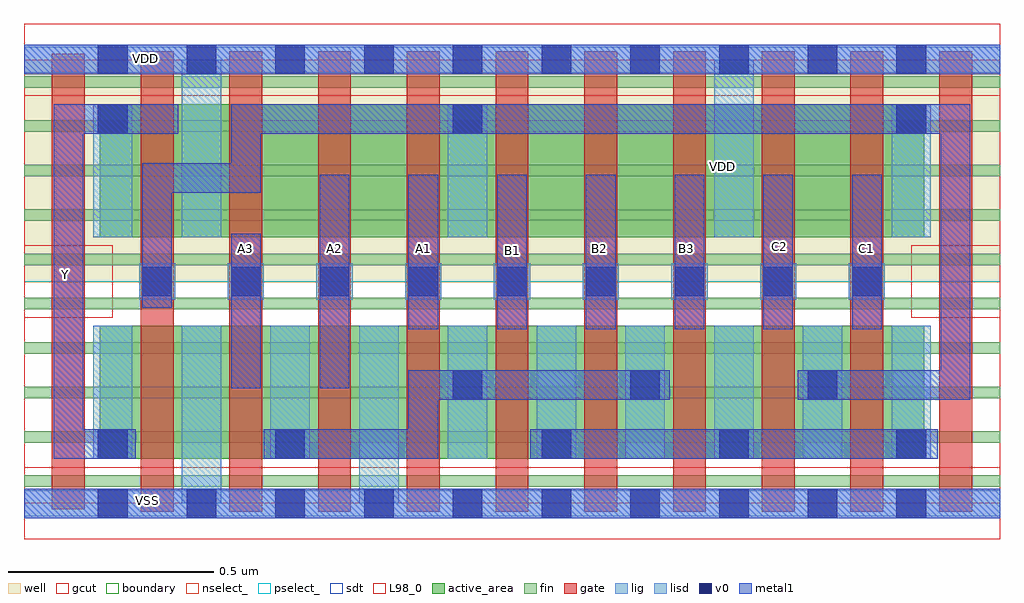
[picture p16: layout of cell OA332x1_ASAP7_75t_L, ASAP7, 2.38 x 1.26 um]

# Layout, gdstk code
import gdstk
lib = gdstk.Library(unit=1e-6, precision=2.5e-10)
def R(c, l, rs):  # rectangles x0, y0, x1, y1
    for r in rs: c.add(gdstk.rectangle(r[:2], r[2:], *l))
def A(c, l, x, y, w, h, nx, ny, dx, dy):  # array of equal rectangles
    R(c, l, [(x+i*dx, y+j*dy, x+i*dx+w, y+j*dy+h) for i in range(nx) for j in range(ny)])
def P(c, l, *ps):  # polygons
    for p in ps: c.add(gdstk.Polygon(p, *l))
well = (1, 0)
fin = (2, 0)
gate = (7, 0)
gcut = (10, 0)
active_area = (11, 0)
nselect_ = (12, 0)
pselect_ = (13, 0)
lig = (16, 0)
lisd = (17, 0)
v0 = (18, 0)
metal1 = (19, 0)
sdt = (88, 0)
L98_0 = (98, 0)
boundary = (100, 0)

oa332x1_asap7_75t_l = lib.new_cell('OA332x1_ASAP7_75t_L')
R(oa332x1_asap7_75t_l, well, [(0,0.54,2.376,1.08)])
A(oa332x1_asap7_75t_l, fin, 0, 0.04, 2.376, 0.028, 1, 10, 0, 0.108)
A(oa332x1_asap7_75t_l, gate, 0.284, -0.02, 0.08, 1.12, 10, 1, 0.216, 0)
R(oa332x1_asap7_75t_l, gate, [(0.068,-0.014,0.148,1.094), (0.284,-0.014,0.364,1.094)])
R(oa332x1_asap7_75t_l, gcut, [(0,-0.088,2.376,0.088), (0,0.452,0.216,0.628), (2.16,0.452,2.376,0.628), (0,0.992,2.376,1.168)])
R(oa332x1_asap7_75t_l, active_area, [(0.184,0.108,2.192,0.432), (0.184,0.648,2.192,0.972)])
R(oa332x1_asap7_75t_l, nselect_, [(0,0,2.376,0.54)])
R(oa332x1_asap7_75t_l, pselect_, [(0,0.54,2.376,1.08)])
A(oa332x1_asap7_75t_l, lig, 0.28, 0.496, 0.088, 0.088, 9, 1, 0.216, 0)
R(oa332x1_asap7_75t_l, lig, [(0,-0.032,2.376,0.032), (0,1.048,2.376,1.112)])
A(oa332x1_asap7_75t_l, lisd, 0.168, 0.108, 0.096, 0.324, 3, 1, 0.432, 0)
A(oa332x1_asap7_75t_l, lisd, 1.248, 0.108, 0.096, 0.324, 5, 1, 0.216, 0)
R(oa332x1_asap7_75t_l, lisd, [(0.384,0,0.48,0.432), (0.816,0,0.912,0.432), (0.168,0.648,0.264,0.972), (0.384,0.648,0.48,1.08), (1.032,0.648,1.128,0.972), (1.68,0.648,1.776,1.08), (2.112,0.648,2.208,0.972)])
A(oa332x1_asap7_75t_l, v0, 0.18, -0.036, 0.072, 0.072, 10, 2, 0.216, 1.08)
A(oa332x1_asap7_75t_l, v0, 1.26, 0.108, 0.072, 0.072, 3, 1, 0.432, 0)
A(oa332x1_asap7_75t_l, v0, 1.044, 0.252, 0.072, 0.072, 3, 1, 0.432, 0)
A(oa332x1_asap7_75t_l, v0, 0.288, 0.504, 0.072, 0.072, 9, 1, 0.216, 0)
R(oa332x1_asap7_75t_l, v0, [(0.18,0.108,0.252,0.18), (0.612,0.108,0.684,0.18), (0.18,0.9,0.252,0.972), (1.044,0.9,1.116,0.972), (2.124,0.9,2.196,0.972)])
A(oa332x1_asap7_75t_l, metal1, 0.936, 0.424, 0.072, 0.376, 6, 1, 0.216, 0)
R(oa332x1_asap7_75t_l, metal1, [(0,-0.036,2.376,0.036), (1.232,0.108,2.224,0.18), (0.504,0.28,0.576,0.656), (0.72,0.28,0.792,0.8), (0,1.044,2.376,1.116)])
P(oa332x1_asap7_75t_l, metal1, [(0.376,0.972),(0.072,0.972),(0.072,0.108),(0.272,0.108),(0.272,0.18),(0.144,0.18),(0.144,0.9),(0.376,0.9)],
  [(1.572,0.324),(0.936,0.324),(0.936,0.18),(0.584,0.18),(0.584,0.108),(1.008,0.108),(1.008,0.252),(1.572,0.252)],
  [(2.304,0.972),(0.504,0.972),(0.504,0.828),(0.288,0.828),(0.288,0.476),(0.36,0.476),(0.36,0.756),(0.576,0.756),(0.576,0.9),(2.232,0.9),(2.232,0.324),(1.884,0.324),(1.884,0.252),(2.304,0.252)])
A(oa332x1_asap7_75t_l, sdt, 0.384, 0.108, 0.096, 0.324, 9, 1, 0.216, 0)
A(oa332x1_asap7_75t_l, sdt, 0.384, 0.648, 0.096, 0.324, 3, 1, 0.648, 0)
R(oa332x1_asap7_75t_l, sdt, [(0.168,0.108,0.264,0.432), (0.168,0.108,0.264,0.432), (0.384,0.108,0.48,0.432), (0.168,0.648,0.264,0.972), (0.168,0.648,0.264,0.972), (0.384,0.648,0.48,0.972), (2.112,0.648,2.208,0.972)])
R(oa332x1_asap7_75t_l, L98_0, [(0,0,2.376,1.08)])
R(oa332x1_asap7_75t_l, boundary, [(0,0,2.376,1.08)])
oa332x1_asap7_75t_l.add(gdstk.Label('VDD', (1.7,0.82), layer=1, texttype=251))
oa332x1_asap7_75t_l.add(gdstk.Label('B2', (1.4,0.62), layer=19, texttype=251))
oa332x1_asap7_75t_l.add(gdstk.Label('B1', (1.188,0.616), layer=19, texttype=251))
oa332x1_asap7_75t_l.add(gdstk.Label('A1', (0.972,0.62), layer=19, texttype=251))
oa332x1_asap7_75t_l.add(gdstk.Label('A2', (0.756,0.62), layer=19, texttype=251))
oa332x1_asap7_75t_l.add(gdstk.Label('A3', (0.54,0.62), layer=19, texttype=251))
oa332x1_asap7_75t_l.add(gdstk.Label('Y', (0.102,0.558), layer=19, texttype=251))
oa332x1_asap7_75t_l.add(gdstk.Label('VDD', (0.296,1.084), layer=19, texttype=251))
oa332x1_asap7_75t_l.add(gdstk.Label('VSS', (0.3,0.008), layer=19, texttype=251))
oa332x1_asap7_75t_l.add(gdstk.Label('B3', (1.612,0.62), layer=19, texttype=251))
oa332x1_asap7_75t_l.add(gdstk.Label('C2', (1.84,0.624), layer=19, texttype=251))
oa332x1_asap7_75t_l.add(gdstk.Label('C1', (2.052,0.62), layer=19, texttype=251))
oa332x1_asap7_75t_l.add(gdstk.Label('VSS', (1.464,-0.184), layer=3, texttype=251))

lib.write_gds('OA332x1_ASAP7_75t_L.gds')
